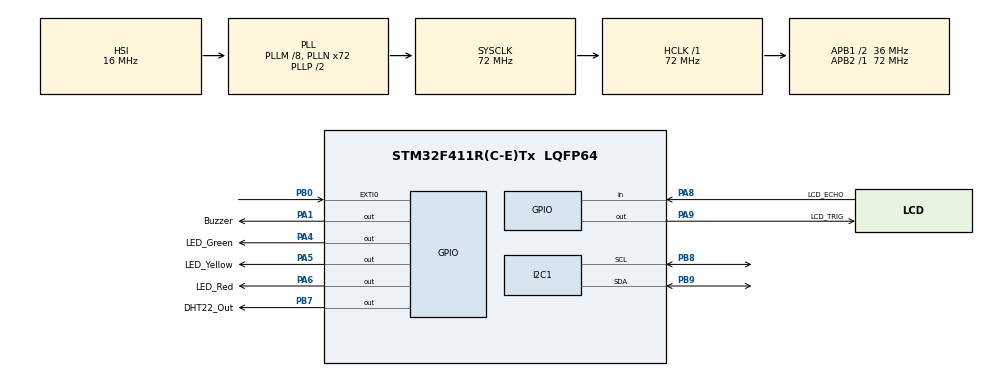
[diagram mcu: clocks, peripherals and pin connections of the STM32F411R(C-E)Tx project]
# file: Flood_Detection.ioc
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Mcu.Family=STM32F4
Mcu.Name=STM32F411R(C-E)Tx
Mcu.Package=LQFP64
NVIC.EXTI0_IRQn=true\:0\:0\:false\:false\:true\:true\:true\:true
NVIC.PriorityGroup=NVIC_PRIORITYGROUP_0
PA1.GPIO_Label=Buzzer
PA1.GPIO_PuPd=GPIO_PULLDOWN
PA1.Signal=GPIO_Output
PA13.Mode=Serial_Wire
PA13.Signal=SYS_JTMS-SWDIO
PA14.Mode=Serial_Wire
PA14.Signal=SYS_JTCK-SWCLK
PA4.GPIO_Label=LED_Green
PA4.GPIO_PuPd=GPIO_PULLDOWN
PA4.Signal=GPIO_Output
PA5.GPIO_Label=LED_Yellow
PA5.GPIO_PuPd=GPIO_PULLDOWN
PA5.Signal=GPIO_Output
PA6.GPIO_Label=LED_Red
PA6.GPIO_PuPd=GPIO_PULLDOWN
PA6.Signal=GPIO_Output
PA8.GPIO_Label=LCD_ECHO
PA8.Signal=GPIO_Input
PA9.GPIO_Label=LCD_TRIG
PA9.Signal=GPIO_Output
PB0.Signal=GPXTI0
PB7.GPIO_Label=DHT22_Out
PB7.Signal=GPIO_Output
PB8.Mode=I2C
PB8.Signal=I2C1_SCL
PB9.Mode=I2C
PB9.Signal=I2C1_SDA
PH0\ -\ OSC_IN.Mode=HSE-External-Oscillator
PH0\ -\ OSC_IN.Signal=RCC_OSC_IN
PH1\ -\ OSC_OUT.Mode=HSE-External-Oscillator
PH1\ -\ OSC_OUT.Signal=RCC_OSC_OUT
ProjectManager.HeapSize=0x200
ProjectManager.StackSize=0x400
ProjectManager.TargetToolchain=STM32CubeIDE
RCC.48MHZClocksFreq_Value=36000000
RCC.AHBFreq_Value=72000000
RCC.APB1CLKDivider=RCC_HCLK_DIV2
RCC.APB1Freq_Value=36000000
RCC.APB1TimFreq_Value=72000000
RCC.APB2Freq_Value=72000000
RCC.APB2TimFreq_Value=72000000
RCC.CortexFreq_Value=72000000
RCC.FLatency-AdvancedSettings=FLASH_LATENCY_2
RCC.HCLKFreq_Value=72000000
RCC.HSE_VALUE=8000000
RCC.HSI_VALUE=16000000
RCC.LSE_VALUE=32768
RCC.PLLM=8
RCC.PLLN=72
RCC.SYSCLKFreq_VALUE=72000000
RCC.SYSCLKSource=RCC_SYSCLKSOURCE_PLLCLK
RCC.VCOOutputFreq_Value=144000000
TIM1.Prescaler=71
TIM2.Prescaler=71
VP_TIM1_VS_ClockSourceINT.Mode=Internal
VP_TIM2_VS_ClockSourceINT.Mode=Internal
board=NUCLEO-F411RE

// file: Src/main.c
/* USER CODE BEGIN Header */
/**
  ******************************************************************************
  * @file           : main.c
  * @brief          : Main program body
  ******************************************************************************
  * @attention
  *
  * Copyright (c) 2022 STMicroelectronics.
  * All rights reserved.
  *
  * This software is licensed under terms that can be found in the LICENSE file
  * in the root directory of this software component.
  * If no LICENSE file comes with this software, it is provided AS-IS.
  *
  ******************************************************************************
  */
/* USER CODE END Header */
#include "main.h"

/* USER CODE BEGIN Includes */
#include "i2c-lcd.h"
#include "stdio.h"
/* USER CODE END Includes */

 I2C_HandleTypeDef hi2c1;

TIM_HandleTypeDef htim1;
TIM_HandleTypeDef htim2;

/* USER CODE BEGIN PV */
//ultrasonic
#define TRIG_PIN GPIO_PIN_9
#define TRIG_PORT GPIOA
#define ECHO_PIN GPIO_PIN_8
#define ECHO_PORT GPIOA
uint32_t pMillis;
uint32_t Value1 = 0;
uint32_t Value2 = 0;
uint16_t Distance  = 0;  // cm
char dist[6];

//DHT22
#define DHT22_PORT GPIOB
#define DHT22_PIN GPIO_PIN_7
uint8_t RH1, RH2, TC1, TC2, SUM, CHECK;
uint32_t pMillis, cMillis;
float tCelsius = 0;
float tFahrenheit = 0;
float RH = 0;
char Temp[20];
char Humi[20];

void microDelay (uint16_t delay)
{
  __HAL_TIM_SET_COUNTER(&htim2, 0);
  while (__HAL_TIM_GET_COUNTER(&htim2) < delay);
}

uint8_t DHT22_Start (void)
{
  uint8_t Response = 0;
  GPIO_InitTypeDef GPIO_InitStructPrivate = {0};
  GPIO_InitStructPrivate.Pin = DHT22_PIN;
  GPIO_InitStructPrivate.Mode = GPIO_MODE_OUTPUT_PP;
  GPIO_InitStructPrivate.Speed = GPIO_SPEED_FREQ_LOW;
  GPIO_InitStructPrivate.Pull = GPIO_NOPULL;
  HAL_GPIO_Init(DHT22_PORT, &GPIO_InitStructPrivate); // set the pin as output
  HAL_GPIO_WritePin (DHT22_PORT, DHT22_PIN, 0);   // pull the pin low
  microDelay (1300);   // wait for 1300us
  HAL_GPIO_WritePin (DHT22_PORT, DHT22_PIN, 1);   // pull the pin high
  microDelay (30);   // wait for 30us
  GPIO_InitStructPrivate.Mode = GPIO_MODE_INPUT;
  GPIO_InitStructPrivate.Pull = GPIO_PULLUP;
  HAL_GPIO_Init(DHT22_PORT, &GPIO_InitStructPrivate); // set the pin as input
  microDelay (40);
  if (!(HAL_GPIO_ReadPin (DHT22_PORT, DHT22_PIN)))
  {
    microDelay (80);
    if ((HAL_GPIO_ReadPin (DHT22_PORT, DHT22_PIN))) Response = 1;
  }
  pMillis = HAL_GetTick();
  cMillis = HAL_GetTick();
  while ((HAL_GPIO_ReadPin (DHT22_PORT, DHT22_PIN)) && pMillis + 2 > cMillis)
  {
    cMillis = HAL_GetTick();
  }
  return Response;
}

uint8_t DHT22_Read (void)
{
  uint8_t a,b;
  for (a=0;a<8;a++)
  {
    pMillis = HAL_GetTick();
    cMillis = HAL_GetTick();
    while (!(HAL_GPIO_ReadPin (DHT22_PORT, DHT22_PIN)) && pMillis + 2 > cMillis)
    {  // wait for the pin to go high
      cMillis = HAL_GetTick();
    }
    microDelay (40);   // wait for 40 us
    if (!(HAL_GPIO_ReadPin (DHT22_PORT, DHT22_PIN)))   // if the pin is low
      b&= ~(1<<(7-a));
    else
      b|= (1<<(7-a));
    pMillis = HAL_GetTick();
    cMillis = HAL_GetTick();
    while ((HAL_GPIO_ReadPin (DHT22_PORT, DHT22_PIN)) && pMillis + 2 > cMillis)
    {  // wait for the pin to go low
      cMillis = HAL_GetTick();
    }
  }
  return b;
}

//water flow
float Flow;
char bufferflow[20];

/* USER CODE END PV */

void SystemClock_Config(void);
static void MX_GPIO_Init(void);
static void MX_TIM1_Init(void);
static void MX_I2C1_Init(void);
static void MX_TIM2_Init(void);

int main(void)
{

  /* MCU Configuration--------------------------------------------------------*/

  /* Reset of all peripherals, Initializes the Flash interface and the Systick. */
  HAL_Init();

  /* Configure the system clock */
  SystemClock_Config();

  /* Initialize all configured peripherals */
  MX_GPIO_Init();
  MX_TIM1_Init();
  MX_I2C1_Init();
  MX_TIM2_Init();
  /* USER CODE BEGIN 2 */
  HAL_TIM_Base_Start(&htim1);
  HAL_GPIO_WritePin(TRIG_PORT, TRIG_PIN, GPIO_PIN_RESET);  // pull the TRIG pin low
  /* USER CODE END 2 */

  /* Infinite loop */
  /* USER CODE BEGIN WHILE */
  while (1)
  {
	  //ultrasonic
	  HAL_GPIO_WritePin(TRIG_PORT, TRIG_PIN, GPIO_PIN_SET);  // pull the TRIG pin HIGH
	  __HAL_TIM_SET_COUNTER(&htim1, 0);
	  while (__HAL_TIM_GET_COUNTER (&htim1) < 10);  // wait for 10 us
	  HAL_GPIO_WritePin(TRIG_PORT, TRIG_PIN, GPIO_PIN_RESET);  // pull the TRIG pin low

	  pMillis = HAL_GetTick(); // used this to avoid infinite while loop  (for timeout)
	  // wait for the echo pin to go high
	  while (!(HAL_GPIO_ReadPin (ECHO_PORT, ECHO_PIN)) && pMillis + 10 >  HAL_GetTick());
	  Value1 = __HAL_TIM_GET_COUNTER (&htim1);

	  pMillis = HAL_GetTick(); // used this to avoid infinite while loop (for timeout)
	  // wait for the echo pin to go low
	  while ((HAL_GPIO_ReadPin (ECHO_PORT, ECHO_PIN)) && pMillis + 50 > HAL_GetTick());
	  Value2 = __HAL_TIM_GET_COUNTER (&htim1);

	  Distance =(Value2-Value1)*0.034/2;
	  //HAL_Delay(50);

	  /*HD44780_Init(2);
	  HD44780_SetCursor(0,0);
	  HD44780_PrintStr("Ultrasonic");
	  HD44780_SetCursor(0,1);
	  HD44780_PrintStr("Dist:");
	  HD44780_SetCursor(6,1);
	  sprintf(dist, "%d", Distance);
	  HD44780_PrintStr(dist);
	  HD44780_SetCursor(13,1);
	  HD44780_PrintStr("cm");*/

	  //DHT22
	  if(DHT22_Start())
	  {
		  RH1 = DHT22_Read(); // First 8bits of humidity
	      RH2 = DHT22_Read(); // Second 8bits of Relative humidity
	  	  TC1 = DHT22_Read(); // First 8bits of Celsius
	  	        TC2 = DHT22_Read(); // Second 8bits of Celsius
	  	        SUM = DHT22_Read(); // Check sum
	  	        CHECK = RH1 + RH2 + TC1 + TC2;
	  	        if (CHECK == SUM)
	  	        {
	  	          if (TC1>127) // If TC1=10000000, negative temperature
	  	          {
	  	            tCelsius = (float)TC2/10*(-1);
	  	          }
	  	          else
	  	          {
	  	            tCelsius = (float)((TC1<<8)|TC2)/10;
	  	          }
	  	          tFahrenheit = tCelsius * 9/5 + 32;
	  	          RH = (float) ((RH1<<8)|RH2)/10;
	  	        }
	  }
	  	      HAL_Delay(1000);

	  	      HD44780_Init(2);
	  	      HD44780_SetCursor(0,0);
	  	      HD44780_PrintStr("Tmp:");
	  	      HD44780_SetCursor(5,0);
	  	      sprintf(Temp, "%2.1f", tCelsius);
	  	      HD44780_PrintStr(Temp);
	  	      HD44780_SetCursor(9,0);
	  	      HD44780_PrintStr("%RH:");
	  	      HD44780_SetCursor(13,0);
	  	      sprintf(Humi, "%2.1f", RH);
	  	      HD44780_PrintStr(Humi);

	  	      HD44780_SetCursor(0,1);
	  	      HD44780_PrintStr("Dist:");
	  	      HD44780_SetCursor(6,1);
	  	      sprintf(dist, "%d", Distance);
	  	      HD44780_PrintStr(dist);
	  	      HD44780_SetCursor(13,1);
	  	      HD44780_PrintStr("cm");

	  	      if(Distance > 10)
	  	      {
	  	    	HAL_GPIO_WritePin(GPIOA, LED_Yellow_Pin, GPIO_PIN_RESET);
	  	    	HAL_GPIO_WritePin(GPIOA, LED_Red_Pin, GPIO_PIN_RESET);
	  	    	HAL_GPIO_WritePin(GPIOA, Buzzer_Pin, GPIO_PIN_RESET);
	  	    	HAL_GPIO_TogglePin(GPIOA, LED_Green_Pin);
	  	    	HAL_Delay(1000);
	  	      }
	  	      else if(Distance < 10 && Distance > 5 )
	  	     {
	  	    	HAL_GPIO_WritePin(GPIOA, LED_Green_Pin, GPIO_PIN_RESET);
	  	    	HAL_GPIO_WritePin(GPIOA, LED_Red_Pin, GPIO_PIN_RESET);
	  	    	HAL_GPIO_WritePin(GPIOA, Buzzer_Pin, GPIO_PIN_RESET);
	  	        HAL_GPIO_TogglePin(GPIOA, LED_Yellow_Pin);
    	    	HAL_Delay(1000);
	  	     }
	  	      else
	  	    {
	  	    	HAL_GPIO_WritePin(GPIOA, LED_Green_Pin, GPIO_PIN_RESET);
	  	        HAL_GPIO_WritePin(GPIOA, LED_Yellow_Pin, GPIO_PIN_RESET);
	  	        HAL_GPIO_TogglePin(GPIOA, Buzzer_Pin);
	  	        HAL_GPIO_TogglePin(GPIOA, LED_Red_Pin);
	  	        HAL_Delay(1000);
	  	     }

    /* USER CODE END WHILE */

  }
}

void SystemClock_Config(void)
{
  RCC_OscInitTypeDef RCC_OscInitStruct = {0};
  RCC_ClkInitTypeDef RCC_ClkInitStruct = {0};

  /** Configure the main internal regulator output voltage
  */
  __HAL_RCC_PWR_CLK_ENABLE();
  __HAL_PWR_VOLTAGESCALING_CONFIG(PWR_REGULATOR_VOLTAGE_SCALE1);

  /** Initializes the RCC Oscillators according to the specified parameters
  * in the RCC_OscInitTypeDef structure.
  */
  RCC_OscInitStruct.OscillatorType = RCC_OSCILLATORTYPE_HSI;
  RCC_OscInitStruct.HSIState = RCC_HSI_ON;
  RCC_OscInitStruct.HSICalibrationValue = RCC_HSICALIBRATION_DEFAULT;
  RCC_OscInitStruct.PLL.PLLState = RCC_PLL_ON;
  RCC_OscInitStruct.PLL.PLLSource = RCC_PLLSOURCE_HSI;
  RCC_OscInitStruct.PLL.PLLM = 8;
  RCC_OscInitStruct.PLL.PLLN = 72;
  RCC_OscInitStruct.PLL.PLLP = RCC_PLLP_DIV2;
  RCC_OscInitStruct.PLL.PLLQ = 4;
  if (HAL_RCC_OscConfig(&RCC_OscInitStruct) != HAL_OK)
  {
    Error_Handler();
  }

  /** Initializes the CPU, AHB and APB buses clocks
  */
  RCC_ClkInitStruct.ClockType = RCC_CLOCKTYPE_HCLK|RCC_CLOCKTYPE_SYSCLK
                              |RCC_CLOCKTYPE_PCLK1|RCC_CLOCKTYPE_PCLK2;
  RCC_ClkInitStruct.SYSCLKSource = RCC_SYSCLKSOURCE_PLLCLK;
  RCC_ClkInitStruct.AHBCLKDivider = RCC_SYSCLK_DIV1;
  RCC_ClkInitStruct.APB1CLKDivider = RCC_HCLK_DIV2;
  RCC_ClkInitStruct.APB2CLKDivider = RCC_HCLK_DIV1;

  if (HAL_RCC_ClockConfig(&RCC_ClkInitStruct, FLASH_LATENCY_2) != HAL_OK)
  {
    Error_Handler();
  }
}

static void MX_I2C1_Init(void)
{

  hi2c1.Instance = I2C1;
  hi2c1.Init.ClockSpeed = 100000;
  hi2c1.Init.DutyCycle = I2C_DUTYCYCLE_2;
  hi2c1.Init.OwnAddress1 = 0;
  hi2c1.Init.AddressingMode = I2C_ADDRESSINGMODE_7BIT;
  hi2c1.Init.DualAddressMode = I2C_DUALADDRESS_DISABLE;
  hi2c1.Init.OwnAddress2 = 0;
  hi2c1.Init.GeneralCallMode = I2C_GENERALCALL_DISABLE;
  hi2c1.Init.NoStretchMode = I2C_NOSTRETCH_DISABLE;
  if (HAL_I2C_Init(&hi2c1) != HAL_OK)
  {
    Error_Handler();
  }

}

static void MX_TIM1_Init(void)
{

  TIM_ClockConfigTypeDef sClockSourceConfig = {0};
  TIM_MasterConfigTypeDef sMasterConfig = {0};

  htim1.Instance = TIM1;
  htim1.Init.Prescaler = 71;
  htim1.Init.CounterMode = TIM_COUNTERMODE_UP;
  htim1.Init.Period = 65535;
  htim1.Init.ClockDivision = TIM_CLOCKDIVISION_DIV1;
  htim1.Init.RepetitionCounter = 0;
  htim1.Init.AutoReloadPreload = TIM_AUTORELOAD_PRELOAD_DISABLE;
  if (HAL_TIM_Base_Init(&htim1) != HAL_OK)
  {
    Error_Handler();
  }
  sClockSourceConfig.ClockSource = TIM_CLOCKSOURCE_INTERNAL;
  if (HAL_TIM_ConfigClockSource(&htim1, &sClockSourceConfig) != HAL_OK)
  {
    Error_Handler();
  }
  sMasterConfig.MasterOutputTrigger = TIM_TRGO_RESET;
  sMasterConfig.MasterSlaveMode = TIM_MASTERSLAVEMODE_DISABLE;
  if (HAL_TIMEx_MasterConfigSynchronization(&htim1, &sMasterConfig) != HAL_OK)
  {
    Error_Handler();
  }

}

static void MX_TIM2_Init(void)
{

  TIM_ClockConfigTypeDef sClockSourceConfig = {0};
  TIM_MasterConfigTypeDef sMasterConfig = {0};

  htim2.Instance = TIM2;
  htim2.Init.Prescaler = 71;
  htim2.Init.CounterMode = TIM_COUNTERMODE_UP;
  htim2.Init.Period = 4294967295;
  htim2.Init.ClockDivision = TIM_CLOCKDIVISION_DIV1;
  htim2.Init.AutoReloadPreload = TIM_AUTORELOAD_PRELOAD_DISABLE;
  if (HAL_TIM_Base_Init(&htim2) != HAL_OK)
  {
    Error_Handler();
  }
  sClockSourceConfig.ClockSource = TIM_CLOCKSOURCE_INTERNAL;
  if (HAL_TIM_ConfigClockSource(&htim2, &sClockSourceConfig) != HAL_OK)
  {
    Error_Handler();
  }
  sMasterConfig.MasterOutputTrigger = TIM_TRGO_RESET;
  sMasterConfig.MasterSlaveMode = TIM_MASTERSLAVEMODE_DISABLE;
  if (HAL_TIMEx_MasterConfigSynchronization(&htim2, &sMasterConfig) != HAL_OK)
  {
    Error_Handler();
  }

}

static void MX_GPIO_Init(void)
{
  GPIO_InitTypeDef GPIO_InitStruct = {0};

  /* GPIO Ports Clock Enable */
  __HAL_RCC_GPIOH_CLK_ENABLE();
  __HAL_RCC_GPIOA_CLK_ENABLE();
  __HAL_RCC_GPIOB_CLK_ENABLE();

  /*Configure GPIO pin Output Level */
  HAL_GPIO_WritePin(GPIOA, Buzzer_Pin|LED_Green_Pin|LED_Yellow_Pin|LED_Red_Pin
                          |LCD_TRIG_Pin, GPIO_PIN_RESET);

  /*Configure GPIO pin Output Level */
  HAL_GPIO_WritePin(DHT22_Out_GPIO_Port, DHT22_Out_Pin, GPIO_PIN_RESET);

  /*Configure GPIO pins : Buzzer_Pin LED_Green_Pin LED_Yellow_Pin LED_Red_Pin */
  GPIO_InitStruct.Pin = Buzzer_Pin|LED_Green_Pin|LED_Yellow_Pin|LED_Red_Pin;
  GPIO_InitStruct.Mode = GPIO_MODE_OUTPUT_PP;
  GPIO_InitStruct.Pull = GPIO_PULLDOWN;
  GPIO_InitStruct.Speed = GPIO_SPEED_FREQ_LOW;
  HAL_GPIO_Init(GPIOA, &GPIO_InitStruct);

  /*Configure GPIO pin : PB0 */
  GPIO_InitStruct.Pin = GPIO_PIN_0;
  GPIO_InitStruct.Mode = GPIO_MODE_IT_RISING;
  GPIO_InitStruct.Pull = GPIO_NOPULL;
  HAL_GPIO_Init(GPIOB, &GPIO_InitStruct);

  /*Configure GPIO pin : LCD_ECHO_Pin */
  GPIO_InitStruct.Pin = LCD_ECHO_Pin;
  GPIO_InitStruct.Mode = GPIO_MODE_INPUT;
  GPIO_InitStruct.Pull = GPIO_NOPULL;
  HAL_GPIO_Init(LCD_ECHO_GPIO_Port, &GPIO_InitStruct);

  /*Configure GPIO pin : LCD_TRIG_Pin */
  GPIO_InitStruct.Pin = LCD_TRIG_Pin;
  GPIO_InitStruct.Mode = GPIO_MODE_OUTPUT_PP;
  GPIO_InitStruct.Pull = GPIO_NOPULL;
  GPIO_InitStruct.Speed = GPIO_SPEED_FREQ_LOW;
  HAL_GPIO_Init(LCD_TRIG_GPIO_Port, &GPIO_InitStruct);

  /*Configure GPIO pin : DHT22_Out_Pin */
  GPIO_InitStruct.Pin = DHT22_Out_Pin;
  GPIO_InitStruct.Mode = GPIO_MODE_OUTPUT_PP;
  GPIO_InitStruct.Pull = GPIO_NOPULL;
  GPIO_InitStruct.Speed = GPIO_SPEED_FREQ_LOW;
  HAL_GPIO_Init(DHT22_Out_GPIO_Port, &GPIO_InitStruct);

  /* EXTI interrupt init*/
  HAL_NVIC_SetPriority(EXTI0_IRQn, 0, 0);
  HAL_NVIC_EnableIRQ(EXTI0_IRQn);

}

void Error_Handler(void)
{
  __disable_irq();
  while (1)
  {
  }
}
